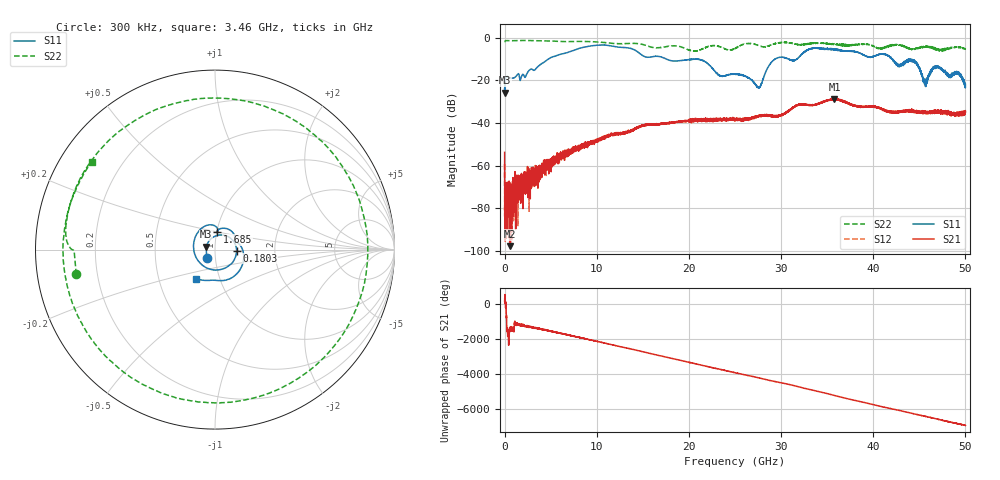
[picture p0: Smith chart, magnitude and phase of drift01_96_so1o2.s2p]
!Created with skrf (http://scikit-rf.org).
# Hz S RI R 50.0
!freq ReS11 ImS11 ReS21 ImS21 ReS12 ImS12 ReS22 ImS22
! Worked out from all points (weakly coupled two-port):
!   10001 points, 300 kHz to 50 GHz, reference 50 ohm
!   highest |S21| = -28.76 dB at 35.8 GHz (marker M1); lowest = -97.8 dB at 555.3 MHz (marker M2)
!   lowest |S11| = -25.8 dB at 5.3 MHz (marker M3), VSWR 1.11, Z = 45.3 + j1.4 ohm
!   |S11| at or under -10 dB: start of sweep to 4.77 GHz; 17.52 GHz to 29.39 GHz (11.88 GHz wide, 50.6 % of centre); 43.82 GHz to end of sweep (the widest 3 of 15)
!   |S22| runs from -6.6 to -1.4 dB; largest |S21 - S12| = 0.0042
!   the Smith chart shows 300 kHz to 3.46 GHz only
!   S11 on the Smith chart (normalised r, x): 300 kHz: 0.91, -0.08; 180.3 MHz: 1.27, -0.01; 1.685 GHz: 1.01, +0.20; 3.46 GHz: 0.77, -0.26
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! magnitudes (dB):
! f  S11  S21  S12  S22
! 300 kHz  -23.8  -53.8  -59.3  -2.1
! 5.3 MHz  -25.8  -72.5  -83.8  -2.1
! 180.3 MHz  -18.4  -76.2  -71.1  -1.4
! 555.3 MHz  -18.8  -97.8  -73.1  -1.4
! 1.685 GHz  -20.1  -65.3  -70.1  -1.4
! 3.46 GHz  -14.3  -64.0  -64.1  -1.5
! 8.335 GHz  -4.8  -50.9  -51.2  -1.8
! 16.67 GHz  -8.8  -40.6  -40.6  -4.8
! 21.22 GHz  -10.3  -38.5  -38.8  -5.7
! 23.39 GHz  -17.9  -38.8  -38.6  -4.4
! 25 GHz  -17.1  -39.0  -38.3  -5.0
! 27.58 GHz  -23.6  -36.9  -36.4  -3.8
! 29.28 GHz  -10.3  -36.7  -36.8  -2.8
! 31.45 GHz  -10.8  -32.2  -32.4  -3.0
! 33.34 GHz  -5.1  -31.7  -31.6  -2.7
! 35.8 GHz  -5.6  -28.8  -29.1  -3.1
! 41.67 GHz  -8.8  -34.3  -34.9  -4.2
! 42.74 GHz  -13.1  -34.8  -34.9  -3.4
! 44.43 GHz  -11.6  -34.6  -34.4  -5.2
! 45.63 GHz  -21.0  -35.3  -35.1  -4.2
! 46.95 GHz  -13.3  -34.6  -34.7  -5.5
! 50 GHz  -21.9  -34.5  -34.8  -5.4
